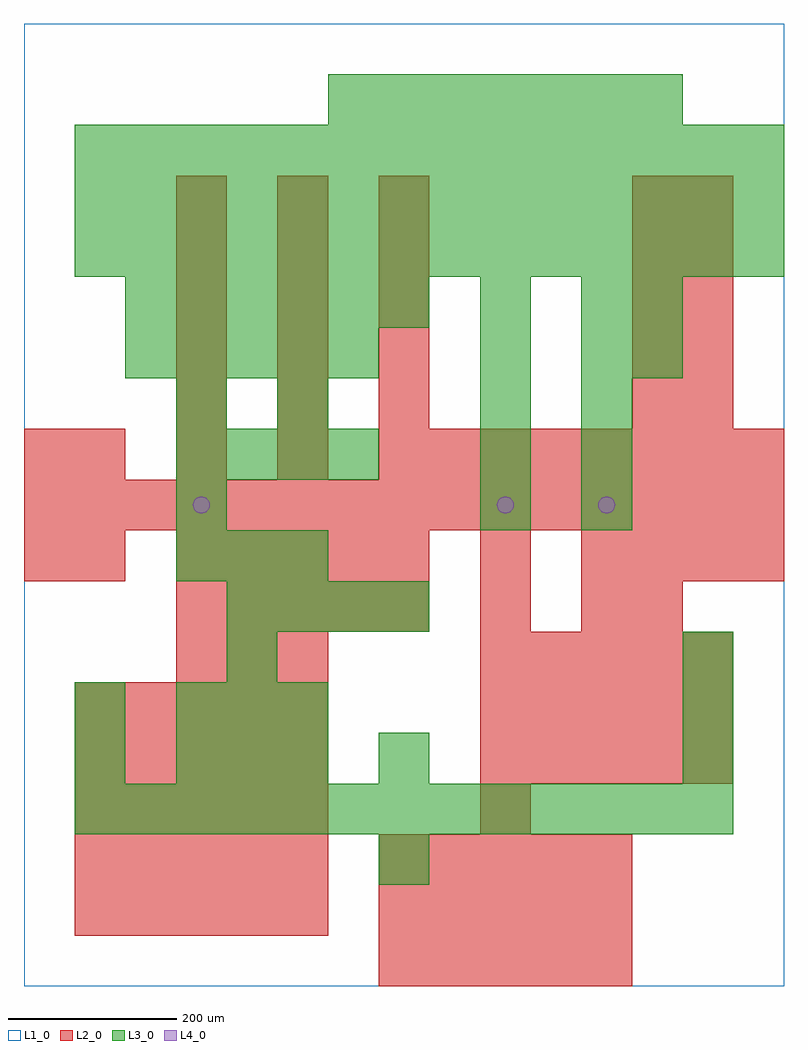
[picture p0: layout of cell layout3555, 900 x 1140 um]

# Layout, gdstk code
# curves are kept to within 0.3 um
import gdstk
lib = gdstk.Library(unit=1e-6, precision=1e-09)
def R(c, l, rs):  # rectangles x0, y0, x1, y1
    for r in rs: c.add(gdstk.rectangle(r[:2], r[2:], *l))
def A(c, l, x, y, w, h, nx, ny, dx, dy):  # array of equal rectangles
    R(c, l, [(x+i*dx, y+j*dy, x+i*dx+w, y+j*dy+h) for i in range(nx) for j in range(ny)])
def P(c, l, *ps):  # polygons
    for p in ps: c.add(gdstk.Polygon(p, *l))
L1_0 = (1, 0)
L2_0 = (2, 0)
L3_0 = (3, 0)
L4_0 = (4, 0)

layout3555 = lib.new_cell('layout3555')
R(layout3555, L1_0, [(0,0,900,1140)])
A(layout3555, L2_0, 420, 0, 60, 60, 5, 3, 60, 60)
A(layout3555, L2_0, 60, 60, 60, 60, 5, 5, 60, 60)
A(layout3555, L2_0, 540, 240, 60, 60, 5, 3, 60, 60)
A(layout3555, L2_0, 180, 360, 60, 60, 3, 1, 60, 0)
A(layout3555, L2_0, 180, 420, 60, 60, 5, 2, 60, 60)
A(layout3555, L2_0, 660, 480, 60, 60, 4, 1, 60, 0)
A(layout3555, L2_0, 0, 540, 60, 60, 15, 1, 60, 0)
A(layout3555, L2_0, 60, 600, 60, 60, 4, 1, 120, 0)
A(layout3555, L2_0, 480, 600, 60, 60, 7, 1, 60, 0)
A(layout3555, L2_0, 180, 660, 60, 60, 3, 5, 120, 60)
A(layout3555, L2_0, 720, 660, 60, 60, 1, 5, 0, 60)
A(layout3555, L2_0, 780, 660, 60, 60, 1, 5, 0, 60)
R(layout3555, L2_0, [(540,180,600,240), (540,420,600,480), (660,420,720,480), (720,420,780,480), (0,480,60,540), (60,480,120,540), (540,480,600,540), (0,600,60,660)])
A(layout3555, L3_0, 60, 180, 60, 60, 13, 1, 60, 0)
A(layout3555, L3_0, 180, 240, 60, 60, 3, 2, 60, 60)
A(layout3555, L3_0, 780, 240, 60, 60, 1, 3, 0, 60)
A(layout3555, L3_0, 240, 420, 60, 60, 4, 1, 60, 0)
A(layout3555, L3_0, 180, 480, 60, 60, 3, 1, 60, 0)
A(layout3555, L3_0, 540, 540, 60, 60, 1, 5, 0, 60)
A(layout3555, L3_0, 660, 540, 60, 60, 1, 5, 0, 60)
A(layout3555, L3_0, 180, 600, 60, 60, 4, 1, 60, 0)
A(layout3555, L3_0, 120, 720, 60, 60, 5, 1, 60, 0)
A(layout3555, L3_0, 120, 780, 60, 60, 6, 1, 60, 0)
A(layout3555, L3_0, 60, 840, 60, 60, 14, 3, 60, 60)
A(layout3555, L3_0, 360, 1020, 60, 60, 7, 1, 60, 0)
R(layout3555, L3_0, [(420,120,480,180), (60,240,120,300), (420,240,480,300), (60,300,120,360), (240,360,300,420), (180,540,240,600), (180,660,240,720), (300,660,360,720), (720,720,780,780), (720,780,780,840)])
P(layout3555, L4_0, [(220,570),(219.239,573.827),(217.071,577.071),(213.827,579.239),(210,580),(206.173,579.239),(202.929,577.071),(200.761,573.827),(200,570),(200.761,566.173),(202.929,562.929),(206.173,560.761),(210,560),(213.827,560.761),(217.071,562.929),(219.239,566.173)],
  [(580,570),(579.239,573.827),(577.071,577.071),(573.827,579.239),(570,580),(566.173,579.239),(562.929,577.071),(560.761,573.827),(560,570),(560.761,566.173),(562.929,562.929),(566.173,560.761),(570,560),(573.827,560.761),(577.071,562.929),(579.239,566.173)],
  [(700,570),(699.239,573.827),(697.071,577.071),(693.827,579.239),(690,580),(686.173,579.239),(682.929,577.071),(680.761,573.827),(680,570),(680.761,566.173),(682.929,562.929),(686.173,560.761),(690,560),(693.827,560.761),(697.071,562.929),(699.239,566.173)])

lib.write_gds('layout3555.gds')
